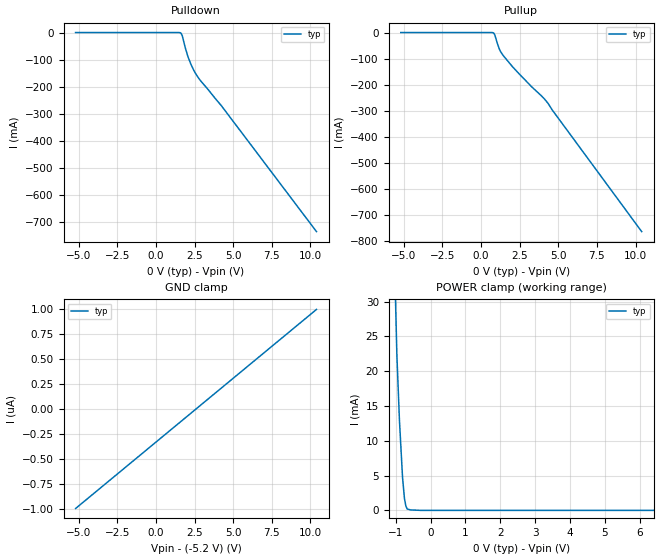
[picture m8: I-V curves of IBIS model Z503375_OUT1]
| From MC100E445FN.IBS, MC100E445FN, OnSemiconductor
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| (C) COPYRIGHT 1993-2000
| MENTOR GRAPHICS CORPORATION
| ICX STANDARD LIBRARY, ICX PROJECT MODELING,
| ICX CUSTOM MODELING, ICX VENDOR MODEL
| ALL RIGHTS RESERVED.
| THE FOLLOWING ARE TRADEMARKS OR SERVICE MARKS OF
| MENTOR GRAPHICS CORPORATION:ICX (R), ICX STANDARD
| LIBRARY(R), ICX PROJECT MODELING(R), ICX CUSTOM
| MODELING(R), qualityIBIS(TM), MODELVIEWER(TM),
| AND MODELEDITOR(TM)
| ALL COPIES OF SOFTWARE, INCLUDING BUT NOT LIMITED TO
| ANY MODIFICATIONS, ENHANCEMENTS OR DERIVATIVE WORKS,
| MUST CONTAIN ALL MENTOR GRAPHICS CORPORATION'S
| NOTICES AND LEGENDS, INCLUDING THOSE EMBEDDED IN
| SOFTWARE AND THOSE AFFIXED TO SOFTWARE MEDIUM
| AND CONTAINER, AS RECEIVED FROM MENTOR GRAPHICS
| CORPORATION.
| Model Application Version 1.89 2/18/99.
[Model] Z503375_OUT1
Model_type Output_ECL
Vref=-2.000V
Rref=50.00ohms
Cref=0.000F
Vmeas=-1.320V
C_comp 8.000pF NA NA
| variable typ   min   max
[Voltage Range] -5.200V NA NA
[POWER Clamp Reference] 0.000V NA NA
[Pullup Reference] 0.000V NA NA
[Pulldown Reference] 0.000V NA NA
[GND Clamp Reference] -5.200V NA NA
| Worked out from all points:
|   POWER clamp passes 1 mA (typ) near -0.72 V on its own axis
[GND Clamp]
-5.2V     -1uA       NA         NA
10.4V     1uA        NA         NA
[Pulldown]
-5.2V     46.26uA    NA         NA
1.622V    -1.972mA   NA         NA
1.709V    -11.58mA   NA         NA
1.899V    -55.48mA   NA         NA
2.08V     -89.89mA   NA         NA
2.271V    -117.6mA   NA         NA
2.447V    -138.7mA   NA         NA
2.774V    -169mA     NA         NA
4.224V    -269.1mA   NA         NA
10.4V     -735.4mA   NA         NA
[Pullup]
-5.2V     36.28uA    NA         NA
606.1mV   36.28uA    NA         NA
823.6mV   -2.354mA   NA         NA
893.6mV   -9.623mA   NA         NA
1.056V    -42.25mA   NA         NA
1.192V    -64.44mA   NA         NA
1.426V    -87.49mA   NA         NA
2.43V     -156mA     NA         NA
3.896V    -241.7mA   NA         NA
4.34V     -271.3mA   NA         NA
4.59V     -295mA     NA         NA
10.4V     -762.3mA   NA         NA
[POWER Clamp]
-5.2V     1.643A     NA         NA
-1.152V   71.99mA    NA         NA
-1.045V   38.15mA    NA         NA
-966.4mV  22.41mA    NA         NA
-893.1mV  13.01mA    NA         NA
-803.9mV  4.758mA    NA         NA
-748.7mV  1.717mA    NA         NA
-707.3mV  605.8uA    NA         NA
-668.6mV  191.4uA    NA         NA
-571.3mV  62.47uA    NA         NA
-285.7mV  0A         NA         NA
10.4V     0A         NA         NA
[Ramp]
| variable typ min max
dV/dt_r 453.2m/265.5p NA NA
dV/dt_f 453.2m/178.5p NA NA
R_load = 500.0Ohms
